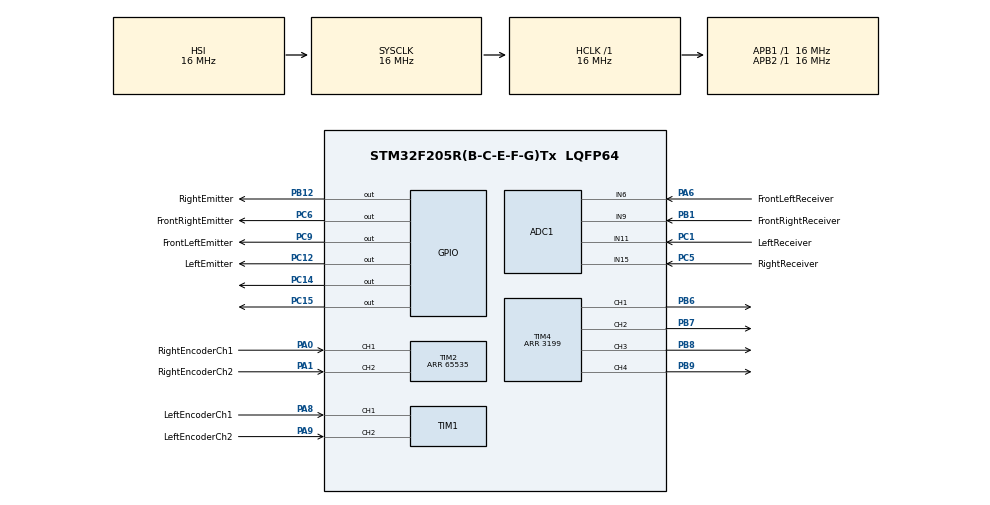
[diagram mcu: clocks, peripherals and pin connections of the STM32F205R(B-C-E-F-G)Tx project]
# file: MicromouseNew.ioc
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ADC1.Channel-0\#ChannelRegularConversion=ADC_CHANNEL_15
ADC1.ContinuousConvMode=ENABLE
ADC1.DMAContinuousRequests=ENABLE
ADC1.NbrOfConversionFlag=1
ADC1.Rank-0\#ChannelRegularConversion=1
ADC1.SamplingTime-0\#ChannelRegularConversion=ADC_SAMPLETIME_3CYCLES
ADC1.master=1
Dma.ADC1.0.Direction=DMA_PERIPH_TO_MEMORY
Dma.ADC1.0.FIFOMode=DMA_FIFOMODE_DISABLE
Dma.ADC1.0.Instance=DMA2_Stream0
Dma.ADC1.0.MemDataAlignment=DMA_MDATAALIGN_HALFWORD
Dma.ADC1.0.MemInc=DMA_MINC_ENABLE
Dma.ADC1.0.Mode=DMA_CIRCULAR
Dma.ADC1.0.PeriphDataAlignment=DMA_PDATAALIGN_HALFWORD
Dma.ADC1.0.PeriphInc=DMA_PINC_DISABLE
Dma.ADC1.0.Priority=DMA_PRIORITY_LOW
Dma.Request0=ADC1
Mcu.Family=STM32F2
Mcu.Name=STM32F205R(B-C-E-F-G)Tx
Mcu.Package=LQFP64
NVIC.DMA2_Stream0_IRQn=true\:0\:0\:false\:false\:true\:false\:true\:true
NVIC.PriorityGroup=NVIC_PRIORITYGROUP_4
NVIC.TIM4_IRQn=true\:0\:0\:false\:false\:true\:true\:true\:true
PA0-WKUP.GPIO_Label=RightEncoderCh1
PA0-WKUP.Signal=S_TIM2_CH1_ETR
PA1.GPIO_Label=RightEncoderCh2
PA1.Signal=S_TIM2_CH2
PA6.GPIO_Label=FrontLeftReceiver
PA6.Signal=ADCx_IN6
PA8.GPIO_Label=LeftEncoderCh1
PA8.Signal=S_TIM1_CH1
PA9.GPIO_Label=LeftEncoderCh2
PA9.Signal=S_TIM1_CH2
PB1.GPIO_Label=FrontRightReceiver
PB1.Signal=ADCx_IN9
PB12.GPIO_Label=RightEmitter
PB12.Signal=GPIO_Output
PB6.Signal=S_TIM4_CH1
PB7.Signal=S_TIM4_CH2
PB8.Signal=S_TIM4_CH3
PB9.Signal=S_TIM4_CH4
PC1.GPIO_Label=LeftReceiver
PC1.Signal=ADCx_IN11
PC12.GPIO_Label=LeftEmitter
PC12.Signal=GPIO_Output
PC14-OSC32_IN.Signal=GPIO_Output
PC15-OSC32_OUT.Signal=GPIO_Output
PC5.GPIO_Label=RightReceiver
PC5.Signal=ADCx_IN15
PC6.GPIO_Label=FrontRightEmitter
PC6.Signal=GPIO_Output
PC9.GPIO_Label=FrontLeftEmitter
PC9.Signal=GPIO_Output
ProjectManager.HeapSize=0x200
ProjectManager.StackSize=0x400
ProjectManager.TargetToolchain=STM32CubeIDE
RCC.48MHZClocksFreq_Value=48000000
RCC.AHBFreq_Value=16000000
RCC.APB1Freq_Value=16000000
RCC.APB2Freq_Value=16000000
RCC.CortexFreq_Value=16000000
RCC.HSE_VALUE=25000000
RCC.HSI_VALUE=16000000
RCC.LSE_VALUE=32768
RCC.SYSCLKFreq_VALUE=16000000
RCC.VCOOutputFreq_Value=192000000
SH.ADCx_IN11.0=ADC1_IN11,IN11
SH.ADCx_IN15.0=ADC1_IN15,IN15
SH.ADCx_IN6.0=ADC1_IN6,IN6
SH.ADCx_IN9.0=ADC1_IN9,IN9
SH.S_TIM1_CH1.0=TIM1_CH1,Encoder_Interface
SH.S_TIM1_CH2.0=TIM1_CH2,Encoder_Interface
SH.S_TIM2_CH1_ETR.0=TIM2_CH1,Encoder_Interface
SH.S_TIM2_CH2.0=TIM2_CH2,Encoder_Interface
SH.S_TIM4_CH1.0=TIM4_CH1,PWM Generation1 CH1
SH.S_TIM4_CH2.0=TIM4_CH2,PWM Generation2 CH2
SH.S_TIM4_CH3.0=TIM4_CH3,PWM Generation3 CH3
SH.S_TIM4_CH4.0=TIM4_CH4,PWM Generation4 CH4
TIM1.EncoderMode=TIM_ENCODERMODE_TI12
TIM2.EncoderMode=TIM_ENCODERMODE_TI12
TIM2.Period=65535
TIM4.Channel-PWM\ Generation1\ CH1=TIM_CHANNEL_1
TIM4.Channel-PWM\ Generation2\ CH2=TIM_CHANNEL_2
TIM4.Channel-PWM\ Generation3\ CH3=TIM_CHANNEL_3
TIM4.Channel-PWM\ Generation4\ CH4=TIM_CHANNEL_4
TIM4.Period=3199
board=custom

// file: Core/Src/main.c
/* USER CODE BEGIN Header */
/**
  ******************************************************************************
  * @file           : main.c
  * @brief          : Main program body
  ******************************************************************************
  * @attention
  *
  * Copyright (c) 2026 STMicroelectronics.
  * All rights reserved.
  *
  * This software is licensed under terms that can be found in the LICENSE file
  * in the root directory of this software component.
  * If no LICENSE file comes with this software, it is provided AS-IS.
  *
  ******************************************************************************
  */
/* USER CODE END Header */
#include "main.h"

/* USER CODE BEGIN Includes */
#include "encoders.h"
#include "motors.h"
#include "controller.h"
#include "delay.h"
#include "irs.h"
#include "solver.h"
/* USER CODE END Includes */

ADC_HandleTypeDef hadc1;
DMA_HandleTypeDef hdma_adc1;

TIM_HandleTypeDef htim1;
TIM_HandleTypeDef htim2;
TIM_HandleTypeDef htim4;

/* USER CODE BEGIN PV */
int16_t left_counts = 0;
int16_t right_counts = 0;

uint16_t ir_l  = 0;
uint16_t ir_fl = 0;
uint16_t ir_fr = 0;
uint16_t ir_r  = 0;

/* USER CODE END PV */

void SystemClock_Config(void);
static void MX_GPIO_Init(void);
static void MX_DMA_Init(void);
static void MX_TIM1_Init(void);
static void MX_TIM2_Init(void);
static void MX_TIM4_Init(void);
static void MX_ADC1_Init(void);

int main(void)
{

  /* MCU Configuration--------------------------------------------------------*/

  /* Reset of all peripherals, Initializes the Flash interface and the Systick. */
  HAL_Init();

  /* Configure the system clock */
  SystemClock_Config();

  /* Initialize all configured peripherals */
  MX_GPIO_Init();
  MX_DMA_Init();
  MX_TIM1_Init();
  MX_TIM2_Init();
  MX_TIM4_Init();
  MX_ADC1_Init();
  /* USER CODE BEGIN 2 */
  Delay_Init();

  HAL_TIM_Encoder_Start(&htim1, TIM_CHANNEL_ALL);
  HAL_TIM_Encoder_Start(&htim2, TIM_CHANNEL_ALL);

  HAL_TIM_PWM_Start(&htim4, TIM_CHANNEL_1);
  HAL_TIM_PWM_Start(&htim4, TIM_CHANNEL_2);
  HAL_TIM_PWM_Start(&htim4, TIM_CHANNEL_3);
  HAL_TIM_PWM_Start(&htim4, TIM_CHANNEL_4);

  //HAL_GPIO_WritePin(GPIOC, GPIO_PIN_14|GPIO_PIN_15, GPIO_PIN_RESET);

//  turn(1);
//  move(1);
//  turn(-1);
//  move(1);

//
  //setMotorRPWM(0.4f);
  //setMotorLPWM(0.4f);

  //HAL_GPIO_WritePin(GPIOC, GPIO_PIN_6, GPIO_PIN_SET);   // FrontRight on
  //HAL_GPIO_WritePin(GPIOB, GPIO_PIN_3, GPIO_PIN_SET);  // Right on

  /* USER CODE END 2 */

  /* Infinite loop */
  /* USER CODE BEGIN WHILE */

  while (1)
  {
//	  left_counts  = getLeftEncoderCounts();
//	  right_counts = getRightEncoderCounts();
//
//	  ir_l  = readLeftIR();
//	  ir_fl = readFrontLeftIR();
//	  ir_fr = readFrontRightIR();
//	  ir_r  = readRightIR();
    /* USER CODE END WHILE */

    /* USER CODE BEGIN 3 */
	  Action nextMove = solver();
	  switch(nextMove){
	  case FORWARD:
		  move(1);
		  break;
	  case LEFT:
	  	  turn(-1);
	  	  break;
	  case RIGHT:
	  	  turn(1);
	  	  break;
	  case IDLE:
	  	  break;
	  }

  }
  /* USER CODE END 3 */
}

void SystemClock_Config(void)
{
  RCC_OscInitTypeDef RCC_OscInitStruct = {0};
  RCC_ClkInitTypeDef RCC_ClkInitStruct = {0};

  /** Initializes the RCC Oscillators according to the specified parameters
  * in the RCC_OscInitTypeDef structure.
  */
  RCC_OscInitStruct.OscillatorType = RCC_OSCILLATORTYPE_HSI;
  RCC_OscInitStruct.HSIState = RCC_HSI_ON;
  RCC_OscInitStruct.HSICalibrationValue = RCC_HSICALIBRATION_DEFAULT;
  RCC_OscInitStruct.PLL.PLLState = RCC_PLL_NONE;
  if (HAL_RCC_OscConfig(&RCC_OscInitStruct) != HAL_OK)
  {
    Error_Handler();
  }

  /** Initializes the CPU, AHB and APB buses clocks
  */
  RCC_ClkInitStruct.ClockType = RCC_CLOCKTYPE_HCLK|RCC_CLOCKTYPE_SYSCLK
                              |RCC_CLOCKTYPE_PCLK1|RCC_CLOCKTYPE_PCLK2;
  RCC_ClkInitStruct.SYSCLKSource = RCC_SYSCLKSOURCE_HSI;
  RCC_ClkInitStruct.AHBCLKDivider = RCC_SYSCLK_DIV1;
  RCC_ClkInitStruct.APB1CLKDivider = RCC_HCLK_DIV1;
  RCC_ClkInitStruct.APB2CLKDivider = RCC_HCLK_DIV1;

  if (HAL_RCC_ClockConfig(&RCC_ClkInitStruct, FLASH_LATENCY_0) != HAL_OK)
  {
    Error_Handler();
  }
}

static void MX_ADC1_Init(void)
{

  ADC_ChannelConfTypeDef sConfig = {0};

  /** Configure the global features of the ADC (Clock, Resolution, Data Alignment and number of conversion)
  */
  hadc1.Instance = ADC1;
  hadc1.Init.ClockPrescaler = ADC_CLOCK_SYNC_PCLK_DIV2;
  hadc1.Init.Resolution = ADC_RESOLUTION_12B;
  hadc1.Init.ScanConvMode = DISABLE;
  hadc1.Init.ContinuousConvMode = ENABLE;
  hadc1.Init.DiscontinuousConvMode = DISABLE;
  hadc1.Init.ExternalTrigConvEdge = ADC_EXTERNALTRIGCONVEDGE_NONE;
  hadc1.Init.ExternalTrigConv = ADC_SOFTWARE_START;
  hadc1.Init.DataAlign = ADC_DATAALIGN_RIGHT;
  hadc1.Init.NbrOfConversion = 1;
  hadc1.Init.DMAContinuousRequests = ENABLE;
  hadc1.Init.EOCSelection = ADC_EOC_SINGLE_CONV;
  if (HAL_ADC_Init(&hadc1) != HAL_OK)
  {
    Error_Handler();
  }

  /** Configure for the selected ADC regular channel its corresponding rank in the sequencer and its sample time.
  */
  sConfig.Channel = ADC_CHANNEL_15;
  sConfig.Rank = 1;
  sConfig.SamplingTime = ADC_SAMPLETIME_3CYCLES;
  if (HAL_ADC_ConfigChannel(&hadc1, &sConfig) != HAL_OK)
  {
    Error_Handler();
  }

}

static void MX_TIM1_Init(void)
{

  TIM_Encoder_InitTypeDef sConfig = {0};
  TIM_MasterConfigTypeDef sMasterConfig = {0};

  htim1.Instance = TIM1;
  htim1.Init.Prescaler = 0;
  htim1.Init.CounterMode = TIM_COUNTERMODE_UP;
  htim1.Init.Period = 65535;
  htim1.Init.ClockDivision = TIM_CLOCKDIVISION_DIV1;
  htim1.Init.RepetitionCounter = 0;
  htim1.Init.AutoReloadPreload = TIM_AUTORELOAD_PRELOAD_DISABLE;
  sConfig.EncoderMode = TIM_ENCODERMODE_TI12;
  sConfig.IC1Polarity = TIM_ICPOLARITY_RISING;
  sConfig.IC1Selection = TIM_ICSELECTION_DIRECTTI;
  sConfig.IC1Prescaler = TIM_ICPSC_DIV1;
  sConfig.IC1Filter = 0;
  sConfig.IC2Polarity = TIM_ICPOLARITY_RISING;
  sConfig.IC2Selection = TIM_ICSELECTION_DIRECTTI;
  sConfig.IC2Prescaler = TIM_ICPSC_DIV1;
  sConfig.IC2Filter = 0;
  if (HAL_TIM_Encoder_Init(&htim1, &sConfig) != HAL_OK)
  {
    Error_Handler();
  }
  sMasterConfig.MasterOutputTrigger = TIM_TRGO_RESET;
  sMasterConfig.MasterSlaveMode = TIM_MASTERSLAVEMODE_DISABLE;
  if (HAL_TIMEx_MasterConfigSynchronization(&htim1, &sMasterConfig) != HAL_OK)
  {
    Error_Handler();
  }

}

static void MX_TIM2_Init(void)
{

  TIM_Encoder_InitTypeDef sConfig = {0};
  TIM_MasterConfigTypeDef sMasterConfig = {0};

  htim2.Instance = TIM2;
  htim2.Init.Prescaler = 0;
  htim2.Init.CounterMode = TIM_COUNTERMODE_UP;
  htim2.Init.Period = 65535;
  htim2.Init.ClockDivision = TIM_CLOCKDIVISION_DIV1;
  htim2.Init.AutoReloadPreload = TIM_AUTORELOAD_PRELOAD_DISABLE;
  sConfig.EncoderMode = TIM_ENCODERMODE_TI12;
  sConfig.IC1Polarity = TIM_ICPOLARITY_RISING;
  sConfig.IC1Selection = TIM_ICSELECTION_DIRECTTI;
  sConfig.IC1Prescaler = TIM_ICPSC_DIV1;
  sConfig.IC1Filter = 0;
  sConfig.IC2Polarity = TIM_ICPOLARITY_RISING;
  sConfig.IC2Selection = TIM_ICSELECTION_DIRECTTI;
  sConfig.IC2Prescaler = TIM_ICPSC_DIV1;
  sConfig.IC2Filter = 0;
  if (HAL_TIM_Encoder_Init(&htim2, &sConfig) != HAL_OK)
  {
    Error_Handler();
  }
  sMasterConfig.MasterOutputTrigger = TIM_TRGO_RESET;
  sMasterConfig.MasterSlaveMode = TIM_MASTERSLAVEMODE_DISABLE;
  if (HAL_TIMEx_MasterConfigSynchronization(&htim2, &sMasterConfig) != HAL_OK)
  {
    Error_Handler();
  }

}

static void MX_TIM4_Init(void)
{

  TIM_MasterConfigTypeDef sMasterConfig = {0};
  TIM_OC_InitTypeDef sConfigOC = {0};

  htim4.Instance = TIM4;
  htim4.Init.Prescaler = 0;
  htim4.Init.CounterMode = TIM_COUNTERMODE_UP;
  htim4.Init.Period = 3199;
  htim4.Init.ClockDivision = TIM_CLOCKDIVISION_DIV1;
  htim4.Init.AutoReloadPreload = TIM_AUTORELOAD_PRELOAD_DISABLE;
  if (HAL_TIM_PWM_Init(&htim4) != HAL_OK)
  {
    Error_Handler();
  }
  sMasterConfig.MasterOutputTrigger = TIM_TRGO_RESET;
  sMasterConfig.MasterSlaveMode = TIM_MASTERSLAVEMODE_DISABLE;
  if (HAL_TIMEx_MasterConfigSynchronization(&htim4, &sMasterConfig) != HAL_OK)
  {
    Error_Handler();
  }
  sConfigOC.OCMode = TIM_OCMODE_PWM1;
  sConfigOC.Pulse = 0;
  sConfigOC.OCPolarity = TIM_OCPOLARITY_HIGH;
  sConfigOC.OCFastMode = TIM_OCFAST_DISABLE;
  if (HAL_TIM_PWM_ConfigChannel(&htim4, &sConfigOC, TIM_CHANNEL_1) != HAL_OK)
  {
    Error_Handler();
  }
  if (HAL_TIM_PWM_ConfigChannel(&htim4, &sConfigOC, TIM_CHANNEL_2) != HAL_OK)
  {
    Error_Handler();
  }
  if (HAL_TIM_PWM_ConfigChannel(&htim4, &sConfigOC, TIM_CHANNEL_3) != HAL_OK)
  {
    Error_Handler();
  }
  if (HAL_TIM_PWM_ConfigChannel(&htim4, &sConfigOC, TIM_CHANNEL_4) != HAL_OK)
  {
    Error_Handler();
  }
  HAL_TIM_MspPostInit(&htim4);

}

static void MX_DMA_Init(void)
{

  /* DMA controller clock enable */
  __HAL_RCC_DMA2_CLK_ENABLE();

  /* DMA interrupt init */
  /* DMA2_Stream0_IRQn interrupt configuration */
  HAL_NVIC_SetPriority(DMA2_Stream0_IRQn, 0, 0);
  HAL_NVIC_EnableIRQ(DMA2_Stream0_IRQn);

}

static void MX_GPIO_Init(void)
{
  GPIO_InitTypeDef GPIO_InitStruct = {0};

  /* GPIO Ports Clock Enable */
  __HAL_RCC_GPIOC_CLK_ENABLE();
  __HAL_RCC_GPIOA_CLK_ENABLE();
  __HAL_RCC_GPIOB_CLK_ENABLE();

  /*Configure GPIO pin Output Level */
  HAL_GPIO_WritePin(GPIOC, GPIO_PIN_14|GPIO_PIN_15|FrontRightEmitter_Pin|FrontLeftEmitter_Pin
                          |LeftEmitter_Pin, GPIO_PIN_RESET);

  /*Configure GPIO pin Output Level */
  HAL_GPIO_WritePin(RightEmitter_GPIO_Port, RightEmitter_Pin, GPIO_PIN_RESET);

  /*Configure GPIO pins : PC14 PC15 FrontRightEmitter_Pin FrontLeftEmitter_Pin
                           LeftEmitter_Pin */
  GPIO_InitStruct.Pin = GPIO_PIN_14|GPIO_PIN_15|FrontRightEmitter_Pin|FrontLeftEmitter_Pin
                          |LeftEmitter_Pin;
  GPIO_InitStruct.Mode = GPIO_MODE_OUTPUT_PP;
  GPIO_InitStruct.Pull = GPIO_NOPULL;
  GPIO_InitStruct.Speed = GPIO_SPEED_FREQ_LOW;
  HAL_GPIO_Init(GPIOC, &GPIO_InitStruct);

  /*Configure GPIO pin : RightEmitter_Pin */
  GPIO_InitStruct.Pin = RightEmitter_Pin;
  GPIO_InitStruct.Mode = GPIO_MODE_OUTPUT_PP;
  GPIO_InitStruct.Pull = GPIO_NOPULL;
  GPIO_InitStruct.Speed = GPIO_SPEED_FREQ_LOW;
  HAL_GPIO_Init(RightEmitter_GPIO_Port, &GPIO_InitStruct);

  /* USER CODE BEGIN MX_GPIO_Init_2 */
  GPIO_InitStruct.Pin = GPIO_PIN_13;
  GPIO_InitStruct.Mode = GPIO_MODE_OUTPUT_PP;
  HAL_GPIO_Init(GPIOB, &GPIO_InitStruct);
  HAL_GPIO_WritePin(GPIOB, GPIO_PIN_13, GPIO_PIN_RESET);

  /* USER CODE END MX_GPIO_Init_2 */
}

/* USER CODE BEGIN 4 */
ADC_HandleTypeDef* Get_HADC1_Ptr(void)
{
	return &hadc1;
}

/* USER CODE END 4 */

void Error_Handler(void)
{
  __disable_irq();
  while (1)
  {
  }
}
